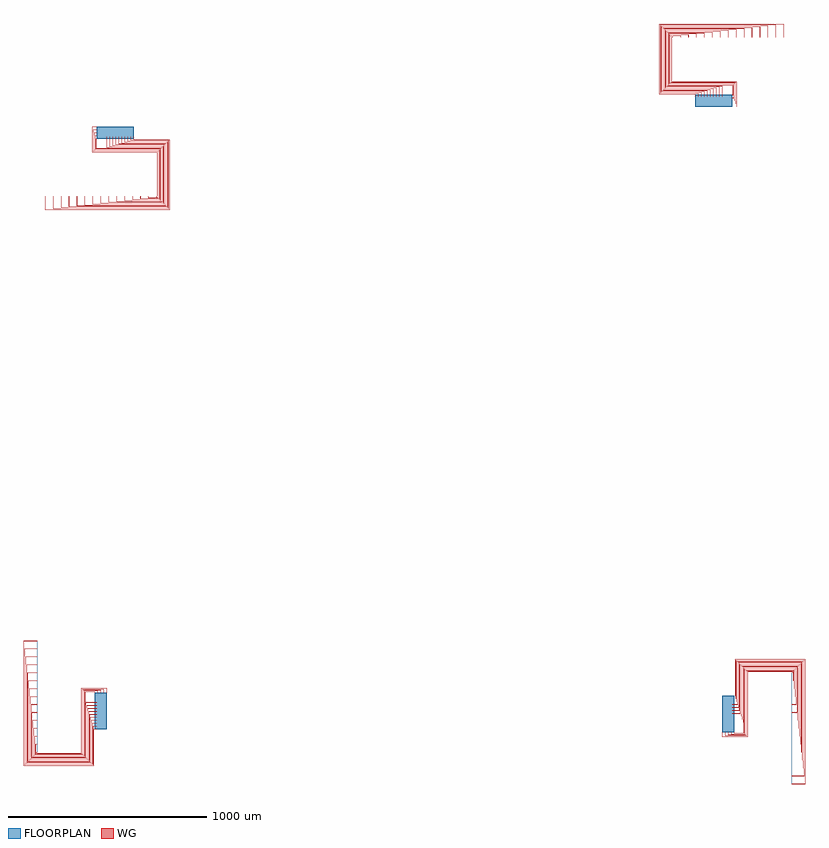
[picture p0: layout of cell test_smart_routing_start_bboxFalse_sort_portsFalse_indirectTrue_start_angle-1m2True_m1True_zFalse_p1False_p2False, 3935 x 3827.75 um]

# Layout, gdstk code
import gdstk
lib = gdstk.Library(unit=1e-6, precision=1e-09)
def R(c, l, rs):  # rectangles x0, y0, x1, y1
    for r in rs: c.add(gdstk.rectangle(r[:2], r[2:], *l))
def P(c, l, *ps):  # polygons
    for p in ps: c.add(gdstk.Polygon(p, *l))
WG = (1, 0)
FLOORPLAN = (10, 0)

test_smart_routing_start = lib.new_cell('test_smart_routing_start_bboxFalse_sort_portsFalse_indirectTrue_start_angle-1m2True_m1True_zFalse_p1False_p2False')
P(test_smart_routing_start, WG, [(-404.5,-204.75),(-404.5,-199.75),(-400,-199.75),(-400,-200.25),(-404,-200.25),(-404,-204.25),(-177.75,-204.25),(-177.75,122.5),(-49.75,122.5),(-49.75,100),(-50.25,100),(-50.25,122),(-177.25,122),(-177.25,-204.75)],
  [(-409,-209.25),(-409,-159.75),(-400,-159.75),(-400,-160.25),(-408.5,-160.25),(-408.5,-208.75),(-173.25,-208.75),(-173.25,118),(-64.75,118),(-64.75,100),(-65.25,100),(-65.25,117.5),(-172.75,117.5),(-172.75,-209.25)],
  [(-413.5,-213.75),(-413.5,-119.75),(-400,-119.75),(-400,-120.25),(-413,-120.25),(-413,-213.25),(-168.75,-213.25),(-168.75,113.5),(-79.75,113.5),(-79.75,100),(-80.25,100),(-80.25,113),(-168.25,113),(-168.25,-213.75)],
  [(-418,-218.25),(-418,-79.75),(-400,-79.75),(-400,-80.25),(-417.5,-80.25),(-417.5,-217.75),(-164.25,-217.75),(-164.25,109),(-94.75,109),(-94.75,100),(-95.25,100),(-95.25,108.5),(-163.75,108.5),(-163.75,-218.25)],
  [(-422.5,-222.75),(-422.5,-39.75),(-400,-39.75),(-400,-40.25),(-422,-40.25),(-422,-222.25),(-159.75,-222.25),(-159.75,104.5),(-109.75,104.5),(-109.75,100),(-110.25,100),(-110.25,104),(-159.25,104),(-159.25,-222.75)],
  [(-427,-227.25),(-427,0.25),(-400,0.25),(-400,-0.25),(-426.5,-0.25),(-426.5,-226.75),(-155.25,-226.75),(-155.25,50.25),(-100,50.25),(-100,49.75),(-154.75,49.75),(-154.75,-227.25)],
  [(-431.5,-231.75),(-431.5,40.25),(-400,40.25),(-400,39.75),(-431,39.75),(-431,-231.25),(-150.75,-231.25),(-150.75,35.25),(-100,35.25),(-100,34.75),(-150.25,34.75),(-150.25,-231.75)],
  [(-436,-236.25),(-436,80.25),(-400,80.25),(-400,79.75),(-435.5,79.75),(-435.5,-235.75),(-146.25,-235.75),(-146.25,20.25),(-100,20.25),(-100,19.75),(-145.75,19.75),(-145.75,-236.25)],
  [(-440.5,-240.75),(-440.5,120.25),(-400,120.25),(-400,119.75),(-440,119.75),(-440,-240.25),(-141.75,-240.25),(-141.75,5.25),(-100,5.25),(-100,4.75),(-141.25,4.75),(-141.25,-240.75)],
  [(-445,-245.25),(-445,160.25),(-400,160.25),(-400,159.75),(-444.5,159.75),(-444.5,-244.75),(-137.25,-244.75),(-137.25,-9.75),(-100,-9.75),(-100,-10.25),(-136.75,-10.25),(-136.75,-245.25)],
  [(-449.5,-249.75),(-449.5,200.25),(-400,200.25),(-400,199.75),(-449,199.75),(-449,-249.25),(-132.75,-249.25),(-132.75,-24.75),(-100,-24.75),(-100,-25.25),(-132.25,-25.25),(-132.25,-249.75)],
  [(-454,-254.25),(-454,240.25),(-400,240.25),(-400,239.75),(-453.5,239.75),(-453.5,-253.75),(-128.25,-253.75),(-128.25,-39.75),(-100,-39.75),(-100,-40.25),(-127.75,-40.25),(-127.75,-254.25)],
  [(-458.5,-258.75),(-458.5,280.25),(-400,280.25),(-400,279.75),(-458,279.75),(-458,-258.25),(-123.75,-258.25),(-123.75,-54.75),(-100,-54.75),(-100,-55.25),(-123.25,-55.25),(-123.25,-258.75)],
  [(-463,-263.25),(-463,320.25),(-400,320.25),(-400,319.75),(-462.5,319.75),(-462.5,-262.75),(-119.25,-262.75),(-119.25,-69.75),(-100,-69.75),(-100,-70.25),(-118.75,-70.25),(-118.75,-263.25)],
  [(-467.5,-267.75),(-467.5,360.25),(-400,360.25),(-400,359.75),(-467,359.75),(-467,-267.25),(-114.75,-267.25),(-114.75,-84.75),(-100,-84.75),(-100,-85.25),(-114.25,-85.25),(-114.25,-267.75)],
  [(199.75,2595.5),(199.75,2600),(200.25,2600),(200.25,2596),(204.25,2596),(204.25,2822.25),(-122.5,2822.25),(-122.5,2950.25),(-100,2950.25),(-100,2949.75),(-122,2949.75),(-122,2822.75),(204.75,2822.75),(204.75,2595.5)],
  [(159.75,2591),(159.75,2600),(160.25,2600),(160.25,2591.5),(208.75,2591.5),(208.75,2826.75),(-118,2826.75),(-118,2935.25),(-100,2935.25),(-100,2934.75),(-117.5,2934.75),(-117.5,2827.25),(209.25,2827.25),(209.25,2591)],
  [(119.75,2586.5),(119.75,2600),(120.25,2600),(120.25,2587),(213.25,2587),(213.25,2831.25),(-113.5,2831.25),(-113.5,2920.25),(-100,2920.25),(-100,2919.75),(-113,2919.75),(-113,2831.75),(213.75,2831.75),(213.75,2586.5)],
  [(79.75,2582),(79.75,2600),(80.25,2600),(80.25,2582.5),(217.75,2582.5),(217.75,2835.75),(-109,2835.75),(-109,2905.25),(-100,2905.25),(-100,2904.75),(-108.5,2904.75),(-108.5,2836.25),(218.25,2836.25),(218.25,2582)],
  [(39.75,2577.5),(39.75,2600),(40.25,2600),(40.25,2578),(222.25,2578),(222.25,2840.25),(-104.5,2840.25),(-104.5,2890.25),(-100,2890.25),(-100,2889.75),(-104,2889.75),(-104,2840.75),(222.75,2840.75),(222.75,2577.5)],
  [(-0.25,2573),(-0.25,2600),(0.25,2600),(0.25,2573.5),(226.75,2573.5),(226.75,2844.75),(-50.25,2844.75),(-50.25,2900),(-49.75,2900),(-49.75,2845.25),(227.25,2845.25),(227.25,2573)],
  [(-40.25,2568.5),(-40.25,2600),(-39.75,2600),(-39.75,2569),(231.25,2569),(231.25,2849.25),(-35.25,2849.25),(-35.25,2900),(-34.75,2900),(-34.75,2849.75),(231.75,2849.75),(231.75,2568.5)],
  [(-80.25,2564),(-80.25,2600),(-79.75,2600),(-79.75,2564.5),(235.75,2564.5),(235.75,2853.75),(-20.25,2853.75),(-20.25,2900),(-19.75,2900),(-19.75,2854.25),(236.25,2854.25),(236.25,2564)],
  [(-120.25,2559.5),(-120.25,2600),(-119.75,2600),(-119.75,2560),(240.25,2560),(240.25,2858.25),(-5.25,2858.25),(-5.25,2900),(-4.75,2900),(-4.75,2858.75),(240.75,2858.75),(240.75,2559.5)],
  [(-160.25,2555),(-160.25,2600),(-159.75,2600),(-159.75,2555.5),(244.75,2555.5),(244.75,2862.75),(9.75,2862.75),(9.75,2900),(10.25,2900),(10.25,2863.25),(245.25,2863.25),(245.25,2555)],
  [(-200.25,2550.5),(-200.25,2600),(-199.75,2600),(-199.75,2551),(249.25,2551),(249.25,2867.25),(24.75,2867.25),(24.75,2900),(25.25,2900),(25.25,2867.75),(249.75,2867.75),(249.75,2550.5)],
  [(-240.25,2546),(-240.25,2600),(-239.75,2600),(-239.75,2546.5),(253.75,2546.5),(253.75,2871.75),(39.75,2871.75),(39.75,2900),(40.25,2900),(40.25,2872.25),(254.25,2872.25),(254.25,2546)],
  [(-280.25,2541.5),(-280.25,2600),(-279.75,2600),(-279.75,2542),(258.25,2542),(258.25,2876.25),(54.75,2876.25),(54.75,2900),(55.25,2900),(55.25,2876.75),(258.75,2876.75),(258.75,2541.5)],
  [(-320.25,2537),(-320.25,2600),(-319.75,2600),(-319.75,2537.5),(262.75,2537.5),(262.75,2880.75),(69.75,2880.75),(69.75,2900),(70.25,2900),(70.25,2881.25),(263.25,2881.25),(263.25,2537)],
  [(-360.25,2532.5),(-360.25,2600),(-359.75,2600),(-359.75,2533),(267.25,2533),(267.25,2885.25),(84.75,2885.25),(84.75,2900),(85.25,2900),(85.25,2885.75),(267.75,2885.75),(267.75,2532.5)],
  [(3049.75,-122.5),(3049.75,-100),(3050.25,-100),(3050.25,-122),(3177.25,-122),(3177.25,204.75),(3404.5,204.75),(3404.5,199.75),(3400,199.75),(3400,200.25),(3404,200.25),(3404,204.25),(3177.75,204.25),(3177.75,-122.5)],
  [(3064.75,-118),(3064.75,-100),(3065.25,-100),(3065.25,-117.5),(3172.75,-117.5),(3172.75,209.25),(3409,209.25),(3409,159.75),(3400,159.75),(3400,160.25),(3408.5,160.25),(3408.5,208.75),(3173.25,208.75),(3173.25,-118)],
  [(3079.75,-113.5),(3079.75,-100),(3080.25,-100),(3080.25,-113),(3168.25,-113),(3168.25,213.75),(3413.5,213.75),(3413.5,119.75),(3400,119.75),(3400,120.25),(3413,120.25),(3413,213.25),(3168.75,213.25),(3168.75,-113.5)],
  [(3094.75,-109),(3094.75,-100),(3095.25,-100),(3095.25,-108.5),(3163.75,-108.5),(3163.75,218.25),(3418,218.25),(3418,79.75),(3400,79.75),(3400,80.25),(3417.5,80.25),(3417.5,217.75),(3164.25,217.75),(3164.25,-109)],
  [(3109.75,-104.5),(3109.75,-100),(3110.25,-100),(3110.25,-104),(3159.25,-104),(3159.25,222.75),(3422.5,222.75),(3422.5,39.75),(3400,39.75),(3400,40.25),(3422,40.25),(3422,222.25),(3159.75,222.25),(3159.75,-104.5)],
  [(3100,-50.25),(3100,-49.75),(3154.75,-49.75),(3154.75,227.25),(3427,227.25),(3427,-0.25),(3400,-0.25),(3400,0.25),(3426.5,0.25),(3426.5,226.75),(3155.25,226.75),(3155.25,-50.25)],
  [(3400,-40.25),(3400,-39.75),(3431,-39.75),(3431,231.25),(3150.75,231.25),(3150.75,-35.25),(3100,-35.25),(3100,-34.75),(3150.25,-34.75),(3150.25,231.75),(3431.5,231.75),(3431.5,-40.25)],
  [(3400,-80.25),(3400,-79.75),(3435.5,-79.75),(3435.5,235.75),(3146.25,235.75),(3146.25,-20.25),(3100,-20.25),(3100,-19.75),(3145.75,-19.75),(3145.75,236.25),(3436,236.25),(3436,-80.25)],
  [(3400,-120.25),(3400,-119.75),(3440,-119.75),(3440,240.25),(3141.75,240.25),(3141.75,-5.25),(3100,-5.25),(3100,-4.75),(3141.25,-4.75),(3141.25,240.75),(3440.5,240.75),(3440.5,-120.25)],
  [(3400,-160.25),(3400,-159.75),(3444.5,-159.75),(3444.5,244.75),(3137.25,244.75),(3137.25,9.75),(3100,9.75),(3100,10.25),(3136.75,10.25),(3136.75,245.25),(3445,245.25),(3445,-160.25)],
  [(3400,-200.25),(3400,-199.75),(3449,-199.75),(3449,249.25),(3132.75,249.25),(3132.75,24.75),(3100,24.75),(3100,25.25),(3132.25,25.25),(3132.25,249.75),(3449.5,249.75),(3449.5,-200.25)],
  [(3400,-240.25),(3400,-239.75),(3453.5,-239.75),(3453.5,253.75),(3128.25,253.75),(3128.25,39.75),(3100,39.75),(3100,40.25),(3127.75,40.25),(3127.75,254.25),(3454,254.25),(3454,-240.25)],
  [(3400,-280.25),(3400,-279.75),(3458,-279.75),(3458,258.25),(3123.75,258.25),(3123.75,54.75),(3100,54.75),(3100,55.25),(3123.25,55.25),(3123.25,258.75),(3458.5,258.75),(3458.5,-280.25)],
  [(3400,-320.25),(3400,-319.75),(3462.5,-319.75),(3462.5,262.75),(3119.25,262.75),(3119.25,69.75),(3100,69.75),(3100,70.25),(3118.75,70.25),(3118.75,263.25),(3463,263.25),(3463,-320.25)],
  [(3400,-360.25),(3400,-359.75),(3467,-359.75),(3467,267.25),(3114.75,267.25),(3114.75,84.75),(3100,84.75),(3100,85.25),(3114.25,85.25),(3114.25,267.75),(3467.5,267.75),(3467.5,-360.25)],
  [(3100,3049.75),(3100,3050.25),(3122,3050.25),(3122,3177.25),(2795.25,3177.25),(2795.25,3404.5),(2800.25,3404.5),(2800.25,3400),(2799.75,3400),(2799.75,3404),(2795.75,3404),(2795.75,3177.75),(3122.5,3177.75),(3122.5,3049.75)],
  [(3100,3064.75),(3100,3065.25),(3117.5,3065.25),(3117.5,3172.75),(2790.75,3172.75),(2790.75,3409),(2840.25,3409),(2840.25,3400),(2839.75,3400),(2839.75,3408.5),(2791.25,3408.5),(2791.25,3173.25),(3118,3173.25),(3118,3064.75)],
  [(3100,3079.75),(3100,3080.25),(3113,3080.25),(3113,3168.25),(2786.25,3168.25),(2786.25,3413.5),(2880.25,3413.5),(2880.25,3400),(2879.75,3400),(2879.75,3413),(2786.75,3413),(2786.75,3168.75),(3113.5,3168.75),(3113.5,3079.75)],
  [(3100,3094.75),(3100,3095.25),(3108.5,3095.25),(3108.5,3163.75),(2781.75,3163.75),(2781.75,3418),(2920.25,3418),(2920.25,3400),(2919.75,3400),(2919.75,3417.5),(2782.25,3417.5),(2782.25,3164.25),(3109,3164.25),(3109,3094.75)],
  [(3100,3109.75),(3100,3110.25),(3104,3110.25),(3104,3159.25),(2777.25,3159.25),(2777.25,3422.5),(2960.25,3422.5),(2960.25,3400),(2959.75,3400),(2959.75,3422),(2777.75,3422),(2777.75,3159.75),(3104.5,3159.75),(3104.5,3109.75)],
  [(3049.75,3100),(3049.75,3154.75),(2772.75,3154.75),(2772.75,3427),(3000.25,3427),(3000.25,3400),(2999.75,3400),(2999.75,3426.5),(2773.25,3426.5),(2773.25,3155.25),(3050.25,3155.25),(3050.25,3100)],
  [(3034.75,3100),(3034.75,3150.25),(2768.25,3150.25),(2768.25,3431.5),(3040.25,3431.5),(3040.25,3400),(3039.75,3400),(3039.75,3431),(2768.75,3431),(2768.75,3150.75),(3035.25,3150.75),(3035.25,3100)],
  [(3019.75,3100),(3019.75,3145.75),(2763.75,3145.75),(2763.75,3436),(3080.25,3436),(3080.25,3400),(3079.75,3400),(3079.75,3435.5),(2764.25,3435.5),(2764.25,3146.25),(3020.25,3146.25),(3020.25,3100)],
  [(3004.75,3100),(3004.75,3141.25),(2759.25,3141.25),(2759.25,3440.5),(3120.25,3440.5),(3120.25,3400),(3119.75,3400),(3119.75,3440),(2759.75,3440),(2759.75,3141.75),(3005.25,3141.75),(3005.25,3100)],
  [(2989.75,3100),(2989.75,3136.75),(2754.75,3136.75),(2754.75,3445),(3160.25,3445),(3160.25,3400),(3159.75,3400),(3159.75,3444.5),(2755.25,3444.5),(2755.25,3137.25),(2990.25,3137.25),(2990.25,3100)],
  [(2974.75,3100),(2974.75,3132.25),(2750.25,3132.25),(2750.25,3449.5),(3200.25,3449.5),(3200.25,3400),(3199.75,3400),(3199.75,3449),(2750.75,3449),(2750.75,3132.75),(2975.25,3132.75),(2975.25,3100)],
  [(2959.75,3100),(2959.75,3127.75),(2745.75,3127.75),(2745.75,3454),(3240.25,3454),(3240.25,3400),(3239.75,3400),(3239.75,3453.5),(2746.25,3453.5),(2746.25,3128.25),(2960.25,3128.25),(2960.25,3100)],
  [(2944.75,3100),(2944.75,3123.25),(2741.25,3123.25),(2741.25,3458.5),(3280.25,3458.5),(3280.25,3400),(3279.75,3400),(3279.75,3458),(2741.75,3458),(2741.75,3123.75),(2945.25,3123.75),(2945.25,3100)],
  [(2929.75,3100),(2929.75,3118.75),(2736.75,3118.75),(2736.75,3463),(3320.25,3463),(3320.25,3400),(3319.75,3400),(3319.75,3462.5),(2737.25,3462.5),(2737.25,3119.25),(2930.25,3119.25),(2930.25,3100)],
  [(2914.75,3100),(2914.75,3114.25),(2732.25,3114.25),(2732.25,3467.5),(3360.25,3467.5),(3360.25,3400),(3359.75,3400),(3359.75,3467),(2732.75,3467),(2732.75,3114.75),(2915.25,3114.75),(2915.25,3100)])
R(test_smart_routing_start, FLOORPLAN, [(3050,-100,3110,85), (-110,-85,-50,100), (-100,2890,85,2950), (2915,3050,3100,3110)])
P(test_smart_routing_start, FLOORPLAN, [(-400,-200),(-400,360),(-400,360),(-400,-200)],
  [(-360,2600),(-360,2600),(200,2600),(200,2600)],
  [(3400,-360),(3400,200),(3400,200),(3400,-360)],
  [(2800,3400),(2800,3400),(3360,3400),(3360,3400)])

lib.write_gds('test_smart_routing_start_bboxFalse_sort_portsFalse_indirectTrue_start_angle-1m2True_m1True_zFalse_p1False_p2False.gds')
